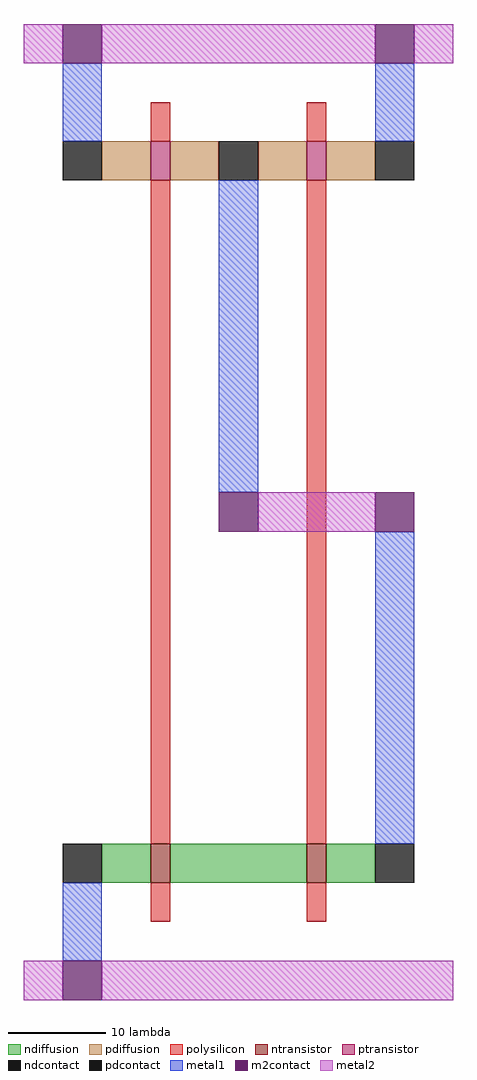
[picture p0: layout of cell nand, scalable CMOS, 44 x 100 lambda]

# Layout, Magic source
magic
tech scmos
<< polysilicon >>
rect 5 36 7 40
rect 21 36 23 40
rect 5 -36 7 32
rect 21 -36 23 32
rect 5 -44 7 -40
rect 21 -44 23 -40
<< ndiffusion >>
rect 0 -40 5 -36
rect 7 -40 21 -36
rect 23 -40 28 -36
<< pdiffusion >>
rect 0 32 5 36
rect 7 32 12 36
rect 16 32 21 36
rect 23 32 28 36
<< metal1 >>
rect -4 36 0 44
rect 28 36 32 44
rect 12 0 16 32
rect 28 -36 32 -4
rect -4 -48 0 -40
<< metal2 >>
rect -8 44 -4 48
rect 0 44 28 48
rect 32 44 36 48
rect 16 -4 28 0
rect -8 -52 -4 -48
rect 0 -52 36 -48
<< ntransistor >>
rect 5 -40 7 -36
rect 21 -40 23 -36
<< ptransistor >>
rect 5 32 7 36
rect 21 32 23 36
<< ndcontact >>
rect -4 -40 0 -36
rect 28 -40 32 -36
<< pdcontact >>
rect -4 32 0 36
rect 12 32 16 36
rect 28 32 32 36
<< m2contact >>
rect -4 44 0 48
rect 28 44 32 48
rect 12 -4 16 0
rect 28 -4 32 0
rect -4 -52 0 -48
<< end >>
